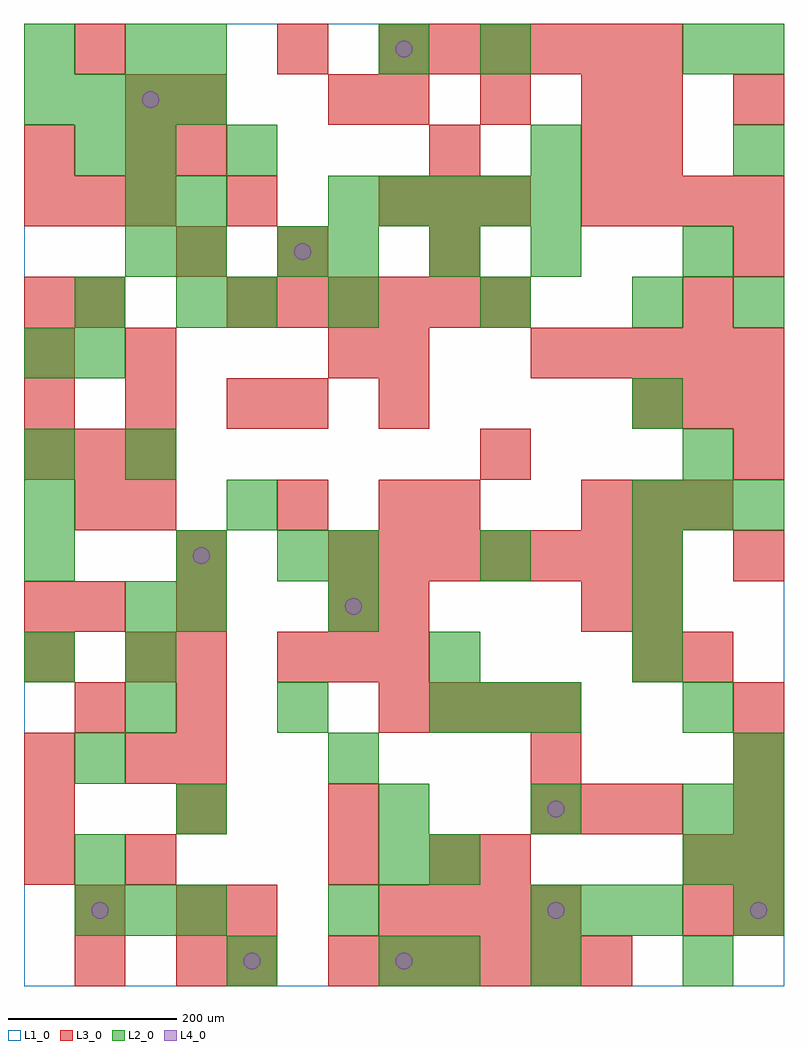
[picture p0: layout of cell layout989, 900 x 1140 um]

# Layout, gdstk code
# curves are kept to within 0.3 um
import gdstk
lib = gdstk.Library(unit=1e-6, precision=1e-09)
def R(c, l, rs):  # rectangles x0, y0, x1, y1
    for r in rs: c.add(gdstk.rectangle(r[:2], r[2:], *l))
def A(c, l, x, y, w, h, nx, ny, dx, dy):  # array of equal rectangles
    R(c, l, [(x+i*dx, y+j*dy, x+i*dx+w, y+j*dy+h) for i in range(nx) for j in range(ny)])
def P(c, l, *ps):  # polygons
    for p in ps: c.add(gdstk.Polygon(p, *l))
L1_0 = (1, 0)
L2_0 = (2, 0)
L3_0 = (3, 0)
L4_0 = (4, 0)

layout989 = lib.new_cell('layout989')
R(layout989, L1_0, [(0,0,900,1140)])
A(layout989, L2_0, 60, 60, 60, 60, 3, 1, 60, 0)
A(layout989, L2_0, 360, 60, 60, 60, 1, 3, 0, 180)
A(layout989, L2_0, 600, 60, 60, 60, 3, 1, 60, 0)
A(layout989, L2_0, 840, 60, 60, 60, 1, 4, 0, 60)
A(layout989, L2_0, 420, 180, 60, 60, 3, 1, 180, 0)
A(layout989, L2_0, 120, 300, 60, 60, 3, 1, 180, 0)
A(layout989, L2_0, 0, 480, 60, 60, 1, 3, 0, 60)
A(layout989, L2_0, 360, 480, 60, 60, 3, 2, 180, 300)
A(layout989, L2_0, 720, 540, 60, 60, 3, 1, 60, 0)
A(layout989, L2_0, 780, 600, 60, 60, 1, 3, 0, 240)
A(layout989, L2_0, 180, 780, 60, 60, 1, 3, 0, 60)
A(layout989, L2_0, 120, 840, 60, 60, 1, 3, 0, 60)
A(layout989, L2_0, 360, 840, 60, 60, 3, 1, 120, 0)
A(layout989, L2_0, 360, 900, 60, 60, 5, 1, 60, 0)
A(layout989, L2_0, 0, 1020, 60, 60, 4, 1, 60, 0)
R(layout989, L2_0, [(240,0,300,60), (420,0,480,60), (480,0,540,60), (600,0,660,60), (780,0,840,60), (60,120,120,180), (420,120,480,180), (480,120,540,180), (780,120,840,180), (180,180,240,240), (60,240,120,300), (540,300,600,360), (600,300,660,360), (780,300,840,360), (0,360,60,420), (120,360,180,420), (480,360,540,420), (720,360,780,420), (120,420,180,480), (180,420,240,480), (720,420,780,480), (180,480,240,540), (300,480,360,540), (240,540,300,600), (120,600,180,660), (720,660,780,720), (0,720,60,780), (60,720,120,780), (60,780,120,840), (240,780,300,840), (840,780,900,840), (300,840,360,900), (60,960,120,1020), (240,960,300,1020), (600,960,660,1020), (840,960,900,1020), (0,1080,60,1140), (120,1080,180,1140), (180,1080,240,1140), (420,1080,480,1140), (540,1080,600,1140), (840,1080,900,1140)])
A(layout989, L3_0, 360, 0, 60, 60, 6, 1, 60, 0)
A(layout989, L3_0, 420, 60, 60, 60, 4, 2, 60, 240)
A(layout989, L3_0, 840, 60, 60, 60, 1, 5, 0, 60)
A(layout989, L3_0, 0, 120, 60, 60, 1, 3, 0, 120)
A(layout989, L3_0, 120, 120, 60, 60, 1, 3, 0, 120)
A(layout989, L3_0, 360, 120, 60, 60, 1, 4, 0, 300)
A(layout989, L3_0, 0, 180, 60, 60, 3, 1, 180, 0)
A(layout989, L3_0, 600, 180, 60, 60, 3, 1, 60, 0)
A(layout989, L3_0, 180, 240, 60, 60, 1, 5, 0, 60)
A(layout989, L3_0, 60, 300, 60, 60, 1, 3, 0, 120)
A(layout989, L3_0, 300, 360, 60, 60, 3, 1, 60, 0)
A(layout989, L3_0, 420, 420, 60, 60, 1, 3, 0, 120)
A(layout989, L3_0, 360, 480, 60, 60, 7, 1, 60, 0)
A(layout989, L3_0, 660, 540, 60, 60, 3, 1, 60, 0)
A(layout989, L3_0, 0, 600, 60, 60, 3, 2, 60, 300)
A(layout989, L3_0, 0, 660, 60, 60, 3, 1, 120, 0)
A(layout989, L3_0, 720, 660, 60, 60, 3, 1, 60, 0)
A(layout989, L3_0, 600, 720, 60, 60, 5, 1, 60, 0)
A(layout989, L3_0, 240, 780, 60, 60, 6, 1, 60, 0)
A(layout989, L3_0, 420, 900, 60, 60, 3, 1, 60, 0)
A(layout989, L3_0, 660, 900, 60, 60, 4, 1, 60, 0)
A(layout989, L3_0, 420, 1020, 60, 60, 3, 1, 120, 0)
A(layout989, L3_0, 420, 1080, 60, 60, 6, 1, 60, 0)
R(layout989, L3_0, [(60,0,120,60), (180,0,240,60), (240,0,300,60), (60,60,120,120), (180,60,240,120), (240,60,300,120), (780,60,840,120), (480,120,540,180), (540,120,600,180), (780,120,840,180), (600,240,660,300), (720,360,780,420), (780,360,840,420), (0,420,60,480), (660,420,720,480), (720,420,780,480), (840,480,900,540), (120,540,180,600), (300,540,360,600), (480,540,540,600), (540,600,600,660), (840,600,900,660), (300,660,360,720), (0,720,60,780), (120,720,180,780), (420,720,480,780), (0,780,60,840), (60,780,120,840), (780,780,840,840), (180,840,240,900), (300,840,360,900), (480,840,540,900), (840,840,900,900), (240,900,300,960), (0,960,60,1020), (120,960,180,1020), (180,960,240,1020), (480,960,540,1020), (660,960,720,1020), (720,960,780,1020), (120,1020,180,1080), (180,1020,240,1080), (720,1020,780,1080), (840,1020,900,1080), (60,1080,120,1140), (300,1080,360,1140)])
P(layout989, L4_0, [(100,90),(99.239,93.827),(97.071,97.071),(93.827,99.239),(90,100),(86.173,99.239),(82.929,97.071),(80.761,93.827),(80,90),(80.761,86.173),(82.929,82.929),(86.173,80.761),(90,80),(93.827,80.761),(97.071,82.929),(99.239,86.173)],
  [(160,1050),(159.239,1053.827),(157.071,1057.071),(153.827,1059.239),(150,1060),(146.173,1059.239),(142.929,1057.071),(140.761,1053.827),(140,1050),(140.761,1046.173),(142.929,1042.929),(146.173,1040.761),(150,1040),(153.827,1040.761),(157.071,1042.929),(159.239,1046.173)],
  [(220,510),(219.239,513.827),(217.071,517.071),(213.827,519.239),(210,520),(206.173,519.239),(202.929,517.071),(200.761,513.827),(200,510),(200.761,506.173),(202.929,502.929),(206.173,500.761),(210,500),(213.827,500.761),(217.071,502.929),(219.239,506.173)],
  [(280,30),(279.239,33.827),(277.071,37.071),(273.827,39.239),(270,40),(266.173,39.239),(262.929,37.071),(260.761,33.827),(260,30),(260.761,26.173),(262.929,22.929),(266.173,20.761),(270,20),(273.827,20.761),(277.071,22.929),(279.239,26.173)],
  [(340,870),(339.239,873.827),(337.071,877.071),(333.827,879.239),(330,880),(326.173,879.239),(322.929,877.071),(320.761,873.827),(320,870),(320.761,866.173),(322.929,862.929),(326.173,860.761),(330,860),(333.827,860.761),(337.071,862.929),(339.239,866.173)],
  [(400,450),(399.239,453.827),(397.071,457.071),(393.827,459.239),(390,460),(386.173,459.239),(382.929,457.071),(380.761,453.827),(380,450),(380.761,446.173),(382.929,442.929),(386.173,440.761),(390,440),(393.827,440.761),(397.071,442.929),(399.239,446.173)],
  [(460,30),(459.239,33.827),(457.071,37.071),(453.827,39.239),(450,40),(446.173,39.239),(442.929,37.071),(440.761,33.827),(440,30),(440.761,26.173),(442.929,22.929),(446.173,20.761),(450,20),(453.827,20.761),(457.071,22.929),(459.239,26.173)],
  [(460,1110),(459.239,1113.827),(457.071,1117.071),(453.827,1119.239),(450,1120),(446.173,1119.239),(442.929,1117.071),(440.761,1113.827),(440,1110),(440.761,1106.173),(442.929,1102.929),(446.173,1100.761),(450,1100),(453.827,1100.761),(457.071,1102.929),(459.239,1106.173)],
  [(640,90),(639.239,93.827),(637.071,97.071),(633.827,99.239),(630,100),(626.173,99.239),(622.929,97.071),(620.761,93.827),(620,90),(620.761,86.173),(622.929,82.929),(626.173,80.761),(630,80),(633.827,80.761),(637.071,82.929),(639.239,86.173)],
  [(640,210),(639.239,213.827),(637.071,217.071),(633.827,219.239),(630,220),(626.173,219.239),(622.929,217.071),(620.761,213.827),(620,210),(620.761,206.173),(622.929,202.929),(626.173,200.761),(630,200),(633.827,200.761),(637.071,202.929),(639.239,206.173)],
  [(880,90),(879.239,93.827),(877.071,97.071),(873.827,99.239),(870,100),(866.173,99.239),(862.929,97.071),(860.761,93.827),(860,90),(860.761,86.173),(862.929,82.929),(866.173,80.761),(870,80),(873.827,80.761),(877.071,82.929),(879.239,86.173)])

lib.write_gds('layout989.gds')
